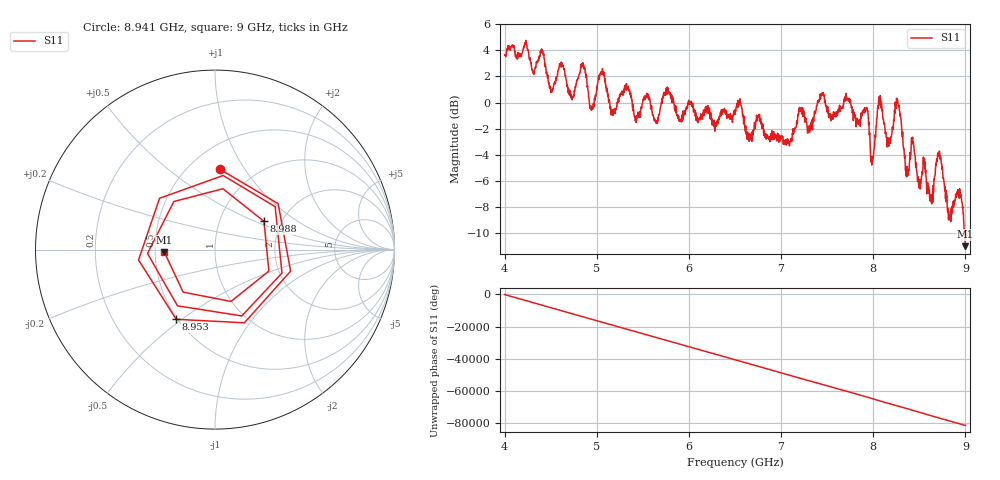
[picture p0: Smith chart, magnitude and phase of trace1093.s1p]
! Created with skrf 1.8.0 (http://scikit-rf.org).
# Hz S RI R 50.0
!freq ReS11 ImS11
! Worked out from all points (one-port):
!   1601 points, 4 GHz to 9 GHz, reference 50 ohm
!   lowest |S11| = -11.0 dB at 9 GHz (marker M1), VSWR 1.79, Z = 28 - j0.901 ohm
!   |S11| at or under -10 dB: 8.98783 GHz to 8.988412 GHz (582.4 kHz wide, 0.00648 % of centre); 8.991979 GHz to end of sweep
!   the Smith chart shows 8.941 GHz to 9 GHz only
!   S11 on the Smith chart (normalised r, x): 8.941 GHz: 0.70, +0.78; 8.953 GHz: 0.49, -0.48; 8.988 GHz: 1.63, +0.57; 9 GHz: 0.56, -0.02
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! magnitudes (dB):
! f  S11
! 4 GHz  3.6
! 4.406 GHz  4.0
! 4.509 GHz  0.8
! 4.625 GHz  3.0
! 4.728 GHz  0.3
! 4.853 GHz  2.8
! 4.944 GHz  -0.3
! 5.056 GHz  2.4
! 5.166 GHz  -1.0
! 5.25 GHz  0.5
! 5.875 GHz  -0.9
! 6.5 GHz  -0.9
! 7.125 GHz  -2.5
! 7.75 GHz  -0.1
! 7.922 GHz  -0.4
! 7.991 GHz  -4.5
! 8.069 GHz  0.3
! 8.169 GHz  -3.3
! 8.262 GHz  0.2
! 8.375 GHz  -5.6
! 8.431 GHz  -3.1
! 8.631 GHz  -7.7
! 8.712 GHz  -4.0
! 8.828 GHz  -8.6
! 8.941 GHz  -7.0
! 8.953 GHz  -7.0
! 8.988 GHz  -10.0
! 9 GHz  -11.0
